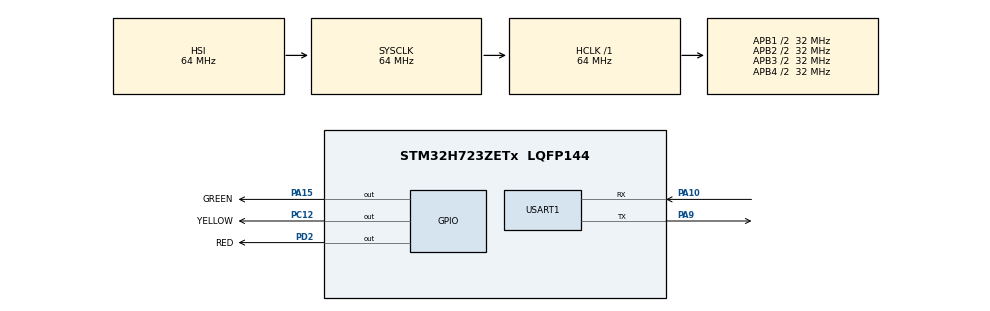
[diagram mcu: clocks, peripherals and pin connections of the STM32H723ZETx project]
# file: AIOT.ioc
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Dma.Request0=USART1_RX
Dma.USART1_RX.0.Direction=DMA_PERIPH_TO_MEMORY
Dma.USART1_RX.0.EventEnable=DISABLE
Dma.USART1_RX.0.FIFOMode=DMA_FIFOMODE_DISABLE
Dma.USART1_RX.0.Instance=DMA1_Stream0
Dma.USART1_RX.0.MemDataAlignment=DMA_MDATAALIGN_BYTE
Dma.USART1_RX.0.MemInc=DMA_MINC_ENABLE
Dma.USART1_RX.0.Mode=DMA_CIRCULAR
Dma.USART1_RX.0.PeriphDataAlignment=DMA_PDATAALIGN_BYTE
Dma.USART1_RX.0.PeriphInc=DMA_PINC_DISABLE
Dma.USART1_RX.0.Polarity=HAL_DMAMUX_REQ_GEN_RISING
Dma.USART1_RX.0.Priority=DMA_PRIORITY_LOW
Dma.USART1_RX.0.RequestNumber=1
Dma.USART1_RX.0.SignalID=NONE
Dma.USART1_RX.0.SyncEnable=DISABLE
Dma.USART1_RX.0.SyncPolarity=HAL_DMAMUX_SYNC_NO_EVENT
Dma.USART1_RX.0.SyncRequestNumber=1
Dma.USART1_RX.0.SyncSignalID=NONE
FREERTOS.Tasks01=defaultTask,24,128,StartDefaultTask,Default,NULL,Dynamic,NULL,NULL
FREERTOS.configENABLE_FPU=1
FREERTOS.configMAX_TASK_NAME_LEN=32
FREERTOS.configTIMER_TASK_STACK_DEPTH=512
FREERTOS.configTOTAL_HEAP_SIZE=131072
Mcu.Family=STM32H7
Mcu.Name=STM32H723ZETx
Mcu.Package=LQFP144
NVIC.DMA1_Stream0_IRQn=true\:5\:0\:false\:false\:true\:true\:false\:true
NVIC.PriorityGroup=NVIC_PRIORITYGROUP_4
NVIC.TIM7_IRQn=true\:15\:0\:false\:false\:true\:false\:false\:true
NVIC.TimeBase=TIM7_IRQn
NVIC.TimeBaseIP=TIM7
NVIC.USART1_IRQn=true\:6\:0\:true\:false\:true\:true\:true\:true
PA10.Mode=Asynchronous
PA10.Signal=USART1_RX
PA15(JTDI).GPIO_Label=GREEN
PA15(JTDI).Signal=GPIO_Output
PA9.Mode=Asynchronous
PA9.Signal=USART1_TX
PC12.GPIO_Label=YELLOW
PC12.Signal=GPIO_Output
PD2.GPIO_Label=RED
PD2.Signal=GPIO_Output
PE15.Signal=TIM1_BKIN
ProjectManager.HeapSize=0x400
ProjectManager.StackSize=0x800
ProjectManager.TargetToolchain=MDK-ARM V5.32
RCC.ADCFreq_Value=129000000
RCC.APB1Freq_Value=32000000
RCC.APB2Freq_Value=32000000
RCC.APB3Freq_Value=32000000
RCC.APB4Freq_Value=32000000
RCC.CortexFreq_Value=64000000
RCC.D1PPRE=RCC_APB3_DIV2
RCC.D2PPRE1=RCC_APB1_DIV2
RCC.D2PPRE2=RCC_APB2_DIV2
RCC.D3PPRE=RCC_APB4_DIV2
RCC.HCLKFreq_Value=64000000
RCC.SYSCLKFreq_VALUE=64000000
RCC.USBFreq_Value=129000000
TIM1.Period=65535
TIM1.Prescaler=64-1
USART1.VirtualMode-Asynchronous=VM_ASYNC
VP_FREERTOS_VS_CMSIS_V2.Mode=CMSIS_V2
VP_SYS_VS_tim7.Mode=TIM7
VP_TIM1_VS_ClockSourceINT.Mode=Internal
board=custom

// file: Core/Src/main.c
/* USER CODE BEGIN Header */
/**
  ******************************************************************************
  * @file           : main.c
  * @brief          : Main program body
  ******************************************************************************
  * @attention
  *
  * Copyright (c) 2026 STMicroelectronics.
  * All rights reserved.
  *
  * This software is licensed under terms that can be found in the LICENSE file
  * in the root directory of this software component.
  * If no LICENSE file comes with this software, it is provided AS-IS.
  *
  ******************************************************************************
  */
/* USER CODE END Header */
#include "main.h"
#include "cmsis_os.h"
#include "dma.h"
#include "tim.h"
#include "usart.h"
#include "gpio.h"

/* USER CODE BEGIN Includes */
#include "stream_buffer.h"

/* USER CODE END Includes */

/* USER CODE BEGIN PD */
#define UART_DMA_BUF_LEN 1024
uint8_t uartRxByte;
uint8_t uart_rx_dma_buf[UART_DMA_BUF_LEN] = {0};
static uint16_t last_dma_cnt = UART_DMA_BUF_LEN;
extern osMessageQueueId_t ledCmdQueue;
extern StreamBufferHandle_t uartStreamBuf;

// void HAL_UARTEx_RxEventCallback(UART_HandleTypeDef *huart)
// {
//     BaseType_t xHigherPriorityTaskWoken = pdFALSE;

//     if(huart->Instance == USART1)
//     {
//         // 中断中入队，必须用FromISR版本
// 				//osMessageQueuePut(ledCmdQueue, &uartRxByte, 0, 0);
//         //uint8_t tmp = uartRxByte;
//         //xStreamBufferSendFromISR(uartStreamBuf, &tmp, 1, &xHigherPriorityTaskWoken);
//         // 继续�?启下�?次接收中断，持续�?
//         // 如果唤醒了更高优先级任务，触发上下文切换
//         portYIELD_FROM_ISR(xHigherPriorityTaskWoken);
//     }
// }

void HAL_UARTEx_RxEventCallback(UART_HandleTypeDef *huart, uint16_t Size)
{
    if (huart->Instance != USART1) return;

    uint16_t now_cnt = huart->RxXferCount;
    uint16_t new_len;
    BaseType_t xHigherPriorityTaskWoken = pdFALSE;

    if (now_cnt <= last_dma_cnt)
    {
        // 没有绕环：正常新增
        new_len = last_dma_cnt - now_cnt;
    }
    else
    {
        // DMA环形缓冲区绕回一圈了
        new_len = UART_DMA_BUF_LEN - (now_cnt - last_dma_cnt);
    }

    if(new_len > 0)
    {
        // 从【上次位置】开始拷贝新增字节
        uint16_t start_pos = UART_DMA_BUF_LEN - last_dma_cnt;
        if(start_pos + new_len <= UART_DMA_BUF_LEN)
        {
            // 连续一段，直接发送
            xStreamBufferSendFromISR(uartStreamBuf, &uart_rx_dma_buf[start_pos], new_len, &xHigherPriorityTaskWoken);
        }
        else
        {
            // 环形折成两段，分两次发送
            uint16_t seg1 = UART_DMA_BUF_LEN - start_pos;
            xStreamBufferSendFromISR(uartStreamBuf, &uart_rx_dma_buf[start_pos], seg1, &xHigherPriorityTaskWoken);
            uint16_t seg2 = new_len - seg1;
            xStreamBufferSendFromISR(uartStreamBuf, uart_rx_dma_buf, seg2, &xHigherPriorityTaskWoken);
        }
    }
    // 更新标记：本次消费完，保存当前计数
    last_dma_cnt = now_cnt;
    portYIELD_FROM_ISR(xHigherPriorityTaskWoken);
}

/* USER CODE END PD */

void SystemClock_Config(void);
void MX_FREERTOS_Init(void);

int main(void)
{

  /* MCU Configuration--------------------------------------------------------*/

  /* Reset of all peripherals, Initializes the Flash interface and the Systick. */
  HAL_Init();

  /* Configure the system clock */
  SystemClock_Config();

  /* Initialize all configured peripherals */
  MX_GPIO_Init();
  MX_TIM1_Init();
  MX_DMA_Init();
  MX_USART1_UART_Init();
  /* USER CODE BEGIN 2 */
  //HAL_UART_Receive_IT(&huart1, &uartRxByte, 1);

  /* USER CODE END 2 */

  /* Init scheduler */
  osKernelInitialize();  /* Call init function for freertos objects (in freertos.c) */
  MX_FREERTOS_Init();
  /* Start scheduler */
  osKernelStart();

  /* We should never get here as control is now taken by the scheduler */
  /* Infinite loop */
  while (1)
  {

  }
}

void SystemClock_Config(void)
{
  RCC_OscInitTypeDef RCC_OscInitStruct = {0};
  RCC_ClkInitTypeDef RCC_ClkInitStruct = {0};

  /** Supply configuration update enable
  */
  HAL_PWREx_ConfigSupply(PWR_LDO_SUPPLY);
  /** Configure the main internal regulator output voltage
  */
  __HAL_PWR_VOLTAGESCALING_CONFIG(PWR_REGULATOR_VOLTAGE_SCALE3);

  while(!__HAL_PWR_GET_FLAG(PWR_FLAG_VOSRDY)) {}
  /** Initializes the RCC Oscillators according to the specified parameters
  * in the RCC_OscInitTypeDef structure.
  */
  RCC_OscInitStruct.OscillatorType = RCC_OSCILLATORTYPE_HSI;
  RCC_OscInitStruct.HSIState = RCC_HSI_DIV1;
  RCC_OscInitStruct.HSICalibrationValue = RCC_HSICALIBRATION_DEFAULT;
  RCC_OscInitStruct.PLL.PLLState = RCC_PLL_NONE;
  if (HAL_RCC_OscConfig(&RCC_OscInitStruct) != HAL_OK)
  {
    Error_Handler();
  }
  /** Initializes the CPU, AHB and APB buses clocks
  */
  RCC_ClkInitStruct.ClockType = RCC_CLOCKTYPE_HCLK|RCC_CLOCKTYPE_SYSCLK
                              |RCC_CLOCKTYPE_PCLK1|RCC_CLOCKTYPE_PCLK2
                              |RCC_CLOCKTYPE_D3PCLK1|RCC_CLOCKTYPE_D1PCLK1;
  RCC_ClkInitStruct.SYSCLKSource = RCC_SYSCLKSOURCE_HSI;
  RCC_ClkInitStruct.SYSCLKDivider = RCC_SYSCLK_DIV1;
  RCC_ClkInitStruct.AHBCLKDivider = RCC_HCLK_DIV1;
  RCC_ClkInitStruct.APB3CLKDivider = RCC_APB3_DIV2;
  RCC_ClkInitStruct.APB1CLKDivider = RCC_APB1_DIV2;
  RCC_ClkInitStruct.APB2CLKDivider = RCC_APB2_DIV2;
  RCC_ClkInitStruct.APB4CLKDivider = RCC_APB4_DIV2;

  if (HAL_RCC_ClockConfig(&RCC_ClkInitStruct, FLASH_LATENCY_1) != HAL_OK)
  {
    Error_Handler();
  }
}

void HAL_TIM_PeriodElapsedCallback(TIM_HandleTypeDef *htim)
{
  if (htim->Instance == TIM7) {
    HAL_IncTick();
  }
}

void Error_Handler(void)
{
  __disable_irq();
  while (1)
  {
  }
}

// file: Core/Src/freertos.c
/* USER CODE BEGIN Header */
/**
  ******************************************************************************
  * File Name          : freertos.c
  * Description        : Code for freertos applications
  ******************************************************************************
  * @attention
  *
  * Copyright (c) 2026 STMicroelectronics.
  * All rights reserved.
  *
  * This software is licensed under terms that can be found in the LICENSE file
  * in the root directory of this software component.
  * If no LICENSE file comes with this software, it is provided AS-IS.
  *
  ******************************************************************************
  */
/* USER CODE END Header */

#include "FreeRTOS.h"
#include "task.h"
#include "main.h"
#include "cmsis_os.h"

/* USER CODE BEGIN Includes */
#include "stream_buffer.h"

/* USER CODE END Includes */

/* USER CODE BEGIN PTD */
#define QUEUE_DEPTH     8
#define MSG_SIZE        sizeof(uint8_t)
#define UART_STREAM_BUF_SIZE    256     // 串口流缓冲�?�大小，根据你命令最大流量调
#define CMD_BUF_MAX             128     // 单条命令�??大长�??

osMessageQueueId_t ledCmdQueue;
StreamBufferHandle_t uartStreamBuf;

const osThreadAttr_t taskledAttr = {
  .name = "TaskLED",
  .stack_size = 128 *4,
  .priority = (osPriority_t) osPriorityNormal1,
};

const osThreadAttr_t taskcmdAttr = {
  .name = "cmd",
  .stack_size = 128 *12,
  .priority = (osPriority_t) osPriorityNormal2,
};
/* USER CODE END PTD */

/* USER CODE BEGIN PD */
void ledTask(void *arg)
{
    uint8_t cmd;
    osStatus_t ret;

    for(;;)
    {
        // 永久阻塞等待消息
        ret = osMessageQueueGet(ledCmdQueue, &cmd, NULL, osWaitForever);
        if(ret == osOK)
        {
            switch(cmd)
            {
                case '1':
                    HAL_GPIO_WritePin(RED_GPIO_Port, RED_Pin, GPIO_PIN_SET);
                    break;
                case '2':
                    HAL_GPIO_WritePin(YELLOW_GPIO_Port, YELLOW_Pin, GPIO_PIN_SET);
                    break;
                case '3':
                    HAL_GPIO_WritePin(GREEN_GPIO_Port, GREEN_Pin, GPIO_PIN_SET);
                    break;
                default:
                    // 其他指令全部熄灭
                    HAL_GPIO_WritePin(RED_GPIO_Port, RED_Pin, GPIO_PIN_RESET);
                    HAL_GPIO_WritePin(YELLOW_GPIO_Port, YELLOW_Pin, GPIO_PIN_RESET);
                    HAL_GPIO_WritePin(GREEN_GPIO_Port, GREEN_Pin, GPIO_PIN_RESET);

                    break;
            }
        }
    }
}

void cmdParseTask(void *arg)
{
    uint8_t ch=0;
    char cmdBuf[CMD_BUF_MAX]={0};
    uint16_t idx = 0;
    uint8_t lastCh = 0;   // 记录上一个字节，用来判断 0x0D 0x0A
    HAL_StatusTypeDef ret = HAL_UARTEx_ReceiveToIdle_DMA(&huart1, uart_rx_dma_buf, sizeof(uart_rx_dma_buf));
    if(ret != HAL_OK)
    {
        Error_Handler(); // 卡住在这里 = 启动失败
    }
    for(;;)
    {
        // 阻塞读取1字节
        ch= 0;
				xStreamBufferReceive(uartStreamBuf, &ch, 1, portMAX_DELAY);
        printf("%c", ch);
        // // �??测帧结束：上�??个是 0x0D，当前是 0x0A �?? CRLF
        // if(lastCh == 0x0D && ch == 0x0A)
        // {
        //     // 把末尾的 \r 删掉（idx-1 位置�??0x0D），补字符串结束�??
        //     if(idx > 0)
        //     {
        //         cmdBuf[idx - 1] = '\0';
        //     }
        //     printf("Recv command: [%s]\r\n", cmdBuf);

        //     // ========== 在这里做命令解析 ==========
        //     if(strcmp(cmdBuf, "led1") == 0)
        //     {
        //         printf("led1 on\r\n");
        //         //osMessageQueuePut(ledCmdQueue, "3", 0, 0);
        //     }
        //     else if(strcmp(cmdBuf, "led0") == 0)
        //     {
        //         printf("led0 on\r\n");

        //         //osMessageQueuePut(ledCmdQueue, "2", 0, 0);
        //     }
        //     else if(strcmp(cmdBuf, "hello") == 0)
        //     {
        //         printf("Hello from console!\r\n");
        //     }
        //     else
        //     {
        //         printf("Unknown cmd\r\n");
        //     }

        //     // 重置索引
        //     idx = 0;
        //     lastCh = 0;
        //     continue;
        // }

        // // 存入缓冲区，防止溢出
        // if(idx < (CMD_BUF_MAX - 1))
        // {
        //     cmdBuf[idx++] = ch;
        // }
        // else
        // {
        //     // 溢出，直接丢弃本条包，复�??
        //     idx = 0;
        // }
        // lastCh = ch;

    }
}

/* USER CODE END PD */

/* Definitions for defaultTask */
osThreadId_t defaultTaskHandle;
const osThreadAttr_t defaultTask_attributes = {
  .name = "defaultTask",
  .stack_size = 128 * 4,
  .priority = (osPriority_t) osPriorityNormal,
};

void StartDefaultTask(void *argument);

void MX_FREERTOS_Init(void); /* (MISRA C 2004 rule 8.1) */

void MX_FREERTOS_Init(void) {
  /* USER CODE BEGIN Init */
  uartStreamBuf = xStreamBufferCreate( 1024, 1 );
  if( uartStreamBuf == NULL )
  {
      Error_Handler();
  }
  /* USER CODE END Init */

  /* USER CODE BEGIN RTOS_QUEUES */
  defaultTaskHandle = osThreadNew(cmdParseTask, NULL, &defaultTask_attributes);
  /* USER CODE END RTOS_QUEUES */

  /* Create the thread(s) */
  /* creation of defaultTask */

}

void StartDefaultTask(void *argument)
{
  for(;;)
  {
    osDelay(1);
  }
}
